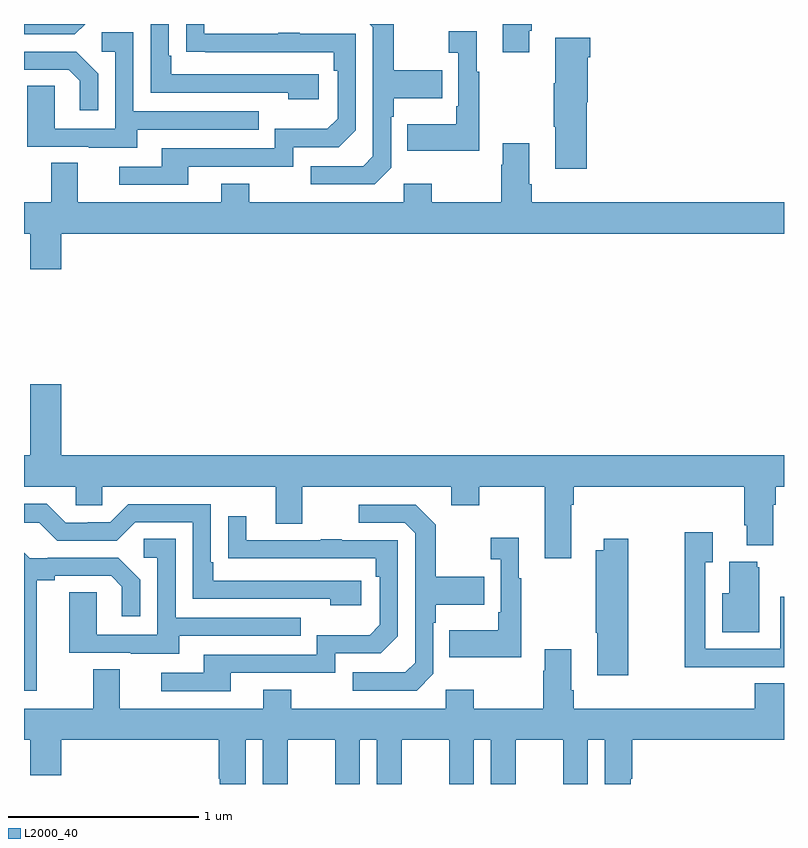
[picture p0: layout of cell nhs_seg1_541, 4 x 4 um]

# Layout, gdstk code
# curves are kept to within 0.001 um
import gdstk
lib = gdstk.Library(unit=1e-6, precision=1e-09)
def P(c, l, *ps):  # polygons
    for p in ps: c.add(gdstk.Polygon(p, *l))
L2000_40 = (2000, 40)

nhs_seg1_541 = lib.new_cell('nhs_seg1_541')
P(nhs_seg1_541, L2000_40, [(143.659,522.163),(143.672,522.163),(143.672,522.199),(143.519,522.199),(143.519,522.051),(143.659,522.051)],
  [(142.932,521.442),(142.932,521.711),(142.945,521.711),(142.945,521.807),(143.201,521.807),(143.201,521.955),(142.945,521.955),(142.945,522.199),(142.82,522.199),(142.836,522.183),(142.836,521.502),(142.785,521.451),(142.509,521.451),(142.509,521.355),(142.845,521.355)],
  [(141.322,522.199),(141,522.199),(141,522.144),(141.267,522.144)],
  [(142.552,521.934),(141.775,521.934),(141.775,522.031),(141.762,522.031),(141.762,522.199),(141.666,522.199),(141.666,521.838),(142.391,521.838),(142.391,521.804),(142.552,521.804)],
  [(141.865,521.448),(142.416,521.448),(142.416,521.55),(142.656,521.55),(142.746,521.64),(142.746,522.147),(142.451,522.147),(142.451,522.152),(142.339,522.152),(142.339,522.147),(141.949,522.147),(141.949,522.199),(141.853,522.199),(141.853,522.052),(142.63,522.051),(142.63,521.954),(142.65,521.954),(142.65,521.7),(142.597,521.647),(142.32,521.647),(142.32,521.544),(141.725,521.544),(141.725,521.448),(141.501,521.448),(141.501,521.352),(141.865,521.352)],
  [(143.395,521.947),(143.383,521.947),(143.383,522.16),(143.235,522.16),(143.235,522.047),(143.286,522.047),(143.286,521.767),(143.274,521.767),(143.274,521.671),(143.017,521.671),(143.017,521.531),(143.395,521.531)],
  [(141.595,521.643),(142.235,521.643),(142.235,521.739),(141.576,521.739),(141.576,522.155),(141.408,522.155),(141.408,522.054),(141.48,522.054),(141.48,521.649),(141.162,521.649),(141.162,521.873),(141.017,521.873),(141.017,521.553),(141.341,521.553),(141.341,521.549),(141.595,521.549)],
  [(143.963,521.787),(143.968,521.787),(143.968,522.023),(143.981,522.023),(143.981,522.127),(143.795,522.127),(143.795,521.887),(143.788,521.887),(143.788,521.659),(143.795,521.659),(143.795,521.436),(143.963,521.436)],
  [(141.39,521.938),(141.274,522.054),(141,522.054),(141,521.958),(141.236,521.958),(141.293,521.901),(141.293,521.745),(141.39,521.745)],
  [(141.196,521.096),(145,521.096),(145,521.26),(143.672,521.26),(143.672,521.356),(143.659,521.356),(143.659,521.572),(143.519,521.572),(143.519,521.459),(143.512,521.459),(143.512,521.26),(143.145,521.26),(143.145,521.359),(142.998,521.359),(142.998,521.26),(142.185,521.26),(142.185,521.359),(142.037,521.359),(142.037,521.26),(141.283,521.26),(141.283,521.468),(141.143,521.468),(141.143,521.26),(141,521.26),(141,521.096),(141.032,521.096),(141.032,520.908),(141.196,520.908)],
  [(143.881,519.668),(143.894,519.668),(143.894,519.764),(144.791,519.764),(144.791,519.562),(144.803,519.562),(144.803,519.455),(144.943,519.455),(144.943,519.668),(144.956,519.668),(144.956,519.764),(145,519.764),(145,519.928),(141.196,519.928),(141.196,520.303),(141.032,520.303),(141.032,519.928),(141,519.928),(141,519.764),(141.273,519.764),(141.273,519.666),(141.411,519.666),(141.411,519.764),(142.325,519.764),(142.325,519.57),(142.465,519.57),(142.465,519.764),(143.249,519.764),(143.249,519.665),(143.397,519.665),(143.397,519.764),(143.741,519.764),(143.741,519.387),(143.881,519.387)],
  [(142.774,519.27),(141.997,519.27),(141.997,519.367),(141.984,519.367),(141.984,519.672),(141.549,519.672),(141.453,519.576),(141.335,519.576),(141.335,519.573),(141.219,519.573),(141.119,519.673),(141,519.673),(141,519.573),(141.081,519.573),(141.174,519.48),(141.489,519.48),(141.585,519.576),(141.888,519.576),(141.888,519.174),(142.613,519.174),(142.613,519.14),(142.774,519.14)],
  [(143.154,518.778),(143.154,519.047),(143.167,519.047),(143.167,519.143),(143.423,519.143),(143.423,519.291),(143.167,519.291),(143.167,519.563),(143.061,519.669),(142.761,519.669),(142.761,519.573),(143.004,519.573),(143.058,519.519),(143.058,518.838),(143.007,518.787),(142.731,518.787),(142.731,518.691),(143.067,518.691)],
  [(142.087,518.784),(142.638,518.784),(142.638,518.886),(142.878,518.886),(142.968,518.976),(142.968,519.483),(142.673,519.483),(142.673,519.488),(142.561,519.488),(142.561,519.483),(142.171,519.483),(142.171,519.607),(142.075,519.607),(142.075,519.388),(142.852,519.387),(142.852,519.29),(142.872,519.29),(142.872,519.036),(142.819,518.983),(142.542,518.983),(142.542,518.88),(141.947,518.88),(141.947,518.784),(141.723,518.784),(141.723,518.688),(142.087,518.688)],
  [(144.761,518.814),(145,518.814),(145,519.184),(144.981,519.184),(144.981,518.91),(144.585,518.91),(144.585,519.367),(144.625,519.367),(144.625,519.523),(144.477,519.523),(144.477,518.813),(144.761,518.813)],
  [(143.617,519.283),(143.605,519.283),(143.605,519.496),(143.457,519.496),(143.457,519.383),(143.508,519.383),(143.508,519.103),(143.496,519.103),(143.496,519.007),(143.239,519.007),(143.239,518.867),(143.617,518.867)],
  [(141.817,518.979),(142.457,518.979),(142.457,519.075),(141.798,519.075),(141.798,519.491),(141.63,519.491),(141.63,519.39),(141.702,519.39),(141.702,518.985),(141.384,518.985),(141.384,519.209),(141.239,519.209),(141.239,518.889),(141.563,518.889),(141.563,518.885),(141.817,518.885)],
  [(144.18,519.49),(144.05,519.49),(144.05,519.43),(144.01,519.43),(144.01,518.995),(144.017,518.995),(144.017,518.772),(144.18,518.772)],
  [(141.067,519.272),(141.163,519.272),(141.163,519.294),(141.458,519.294),(141.515,519.237),(141.515,519.081),(141.612,519.081),(141.612,519.274),(141.496,519.39),(141.124,519.39),(141.124,519.387),(141.03,519.387),(141,519.417),(141,518.691),(141.067,518.691)],
  [(144.871,519.339),(144.86,519.339),(144.86,519.37),(144.713,519.37),(144.713,519.202),(144.674,519.202),(144.674,518.999),(144.871,518.999)],
  [(143.894,518.692),(143.881,518.692),(143.881,518.908),(143.741,518.908),(143.741,518.795),(143.734,518.795),(143.734,518.596),(143.367,518.596),(143.367,518.695),(143.22,518.695),(143.22,518.596),(142.407,518.596),(142.407,518.695),(142.259,518.695),(142.259,518.596),(141.505,518.596),(141.505,518.804),(141.365,518.804),(141.365,518.596),(141,518.596),(141,518.432),(141.032,518.432),(141.032,518.244),(141.196,518.244),(141.196,518.432),(142.025,518.432),(142.025,518.227),(142.031,518.227),(142.031,518.199),(142.168,518.199),(142.168,518.432),(142.256,518.432),(142.256,518.199),(142.387,518.199),(142.387,518.432),(142.637,518.432),(142.637,518.199),(142.768,518.199),(142.768,518.432),(142.856,518.432),(142.856,518.199),(142.987,518.199),(142.987,518.432),(143.237,518.432),(143.237,518.199),(143.368,518.199),(143.368,518.432),(143.456,518.432),(143.456,518.199),(143.587,518.199),(143.587,518.432),(143.837,518.432),(143.837,518.199),(143.968,518.199),(143.968,518.432),(144.056,518.432),(144.056,518.199),(144.193,518.199),(144.193,518.227),(144.2,518.227),(144.2,518.432),(145,518.432),(145,518.729),(144.845,518.729),(144.845,518.596),(143.894,518.596)])

lib.write_gds('nhs_seg1_541.gds')
